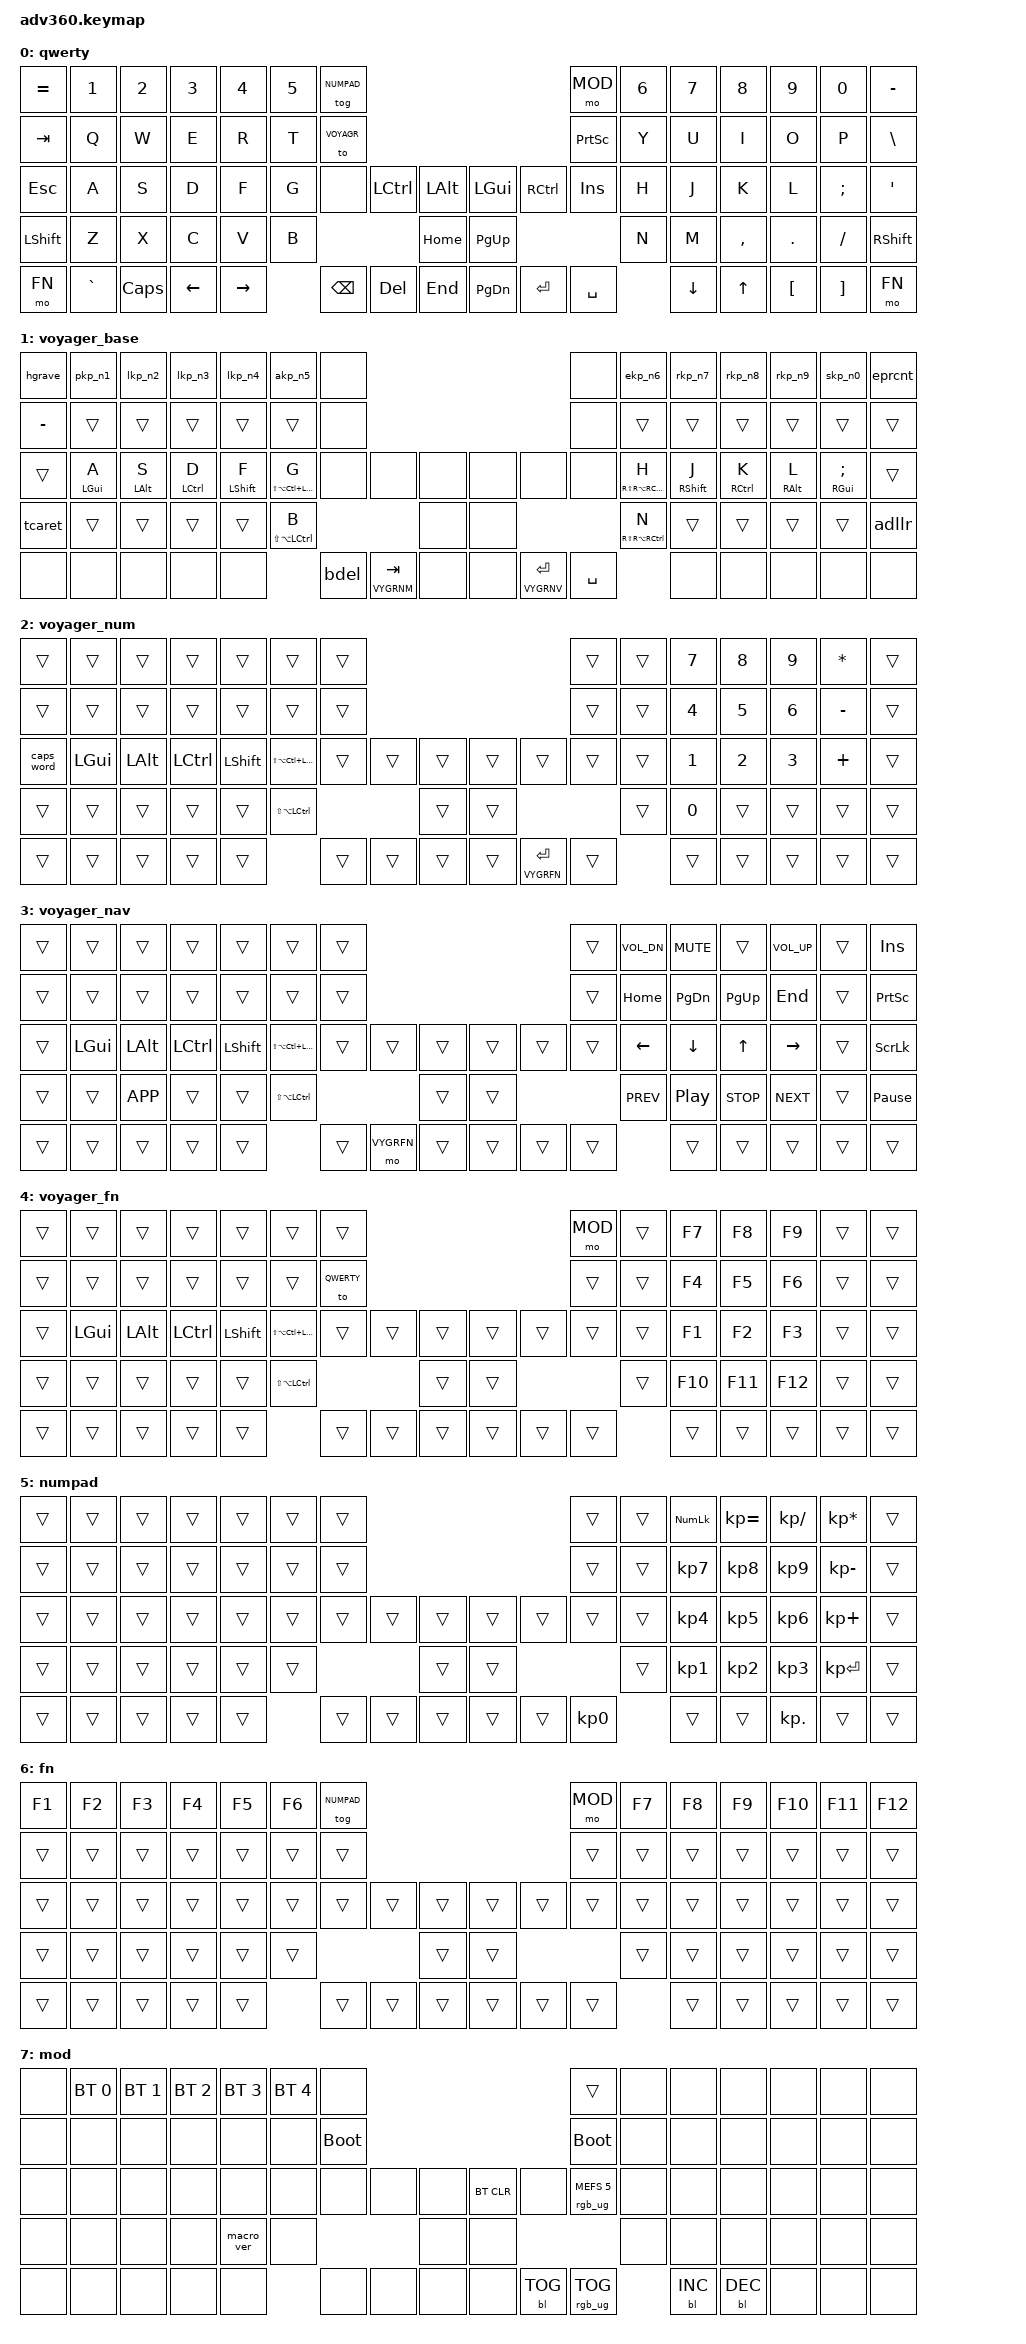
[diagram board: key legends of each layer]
#include <behaviors.dtsi>
#include <dt-bindings/zmk/keys.h>
#include <dt-bindings/zmk/bt.h>
#include <dt-bindings/zmk/rgb.h>
#include <dt-bindings/zmk/backlight.h>


#define ______ &trans
#define xxxxxx &none
#define LHPR LS(LA(LC(LGUI)))
#define RHPR RS(RA(RC(RGUI)))
#define LMEH LS(LA(LCTRL))
#define RMEH RS(RA(RCTRL))

#define QWERTY 0
#define VOYAGR 1
#define VYGRNM 2
#define VYGRNV 3
#define VYGRFN 4
#define NUMPAD 5
#define FN 6
#define MOD 7

&lt {
    quick_tap_ms = <175>;
};

&caps_word {
    continue-list = <UNDERSCORE BACKSPACE DELETE (RS(ZMK_HID_USAGE(HID_USAGE_KEY, HID_USAGE_KEY_KEYBOARD_MINUS_AND_UNDERSCORE))) >;
};


/ {
    behaviors {
        #include "macros.dtsi"
        #include "version.dtsi"
        #ifndef VERSION_MACRO
        macro_ver: macro_ver {
            compatible = "zmk,behavior-macro";
            label = "macro_version";
            #binding-cells = <0>;
            bindings = <&kp RET>;
        };
        #endif

        hm: homerow_mods {
            compatible = "zmk,behavior-hold-tap";
            label = "HOMEROW_MODS";
            #binding-cells = <2>;
            tapping-term-ms = <200>;
            quick_tap_ms = <175>;
            flavor = "tap-preferred";
            bindings = <&kp>, <&kp>;
        };
        hm_l: hm_l {
            compatible = "zmk,behavior-hold-tap";
            label = "HM_L";
            bindings = <&kp>, <&kp>;

            #binding-cells = <2>;
            flavor = "balanced";
            tapping-term-ms = <200>;
            quick-tap-ms = <175>;
            hold-trigger-key-positions = <66 35 36 52 67 65 7 8 9 10 11 12 13 21 22 23 24 25 26 27 38 39 40 41 42 43 44 45 54 55 56 57 58 59 70 71 72 73 74 75 37 53 69 68>;
            hold-trigger-on-release;
            global-quick-tap;
        };
        hm_r: hm_r {
            compatible = "zmk,behavior-hold-tap";
            label = "HM_R";
            bindings = <&kp>, <&kp>;

            #binding-cells = <2>;
            tapping-term-ms = <200>;
            quick-tap-ms = <175>;
            flavor = "balanced";
            hold-trigger-key-positions = <0 1 2 3 4 5 6 14 15 16 17 18 19 20 28 29 30 31 32 33 34 35 36 46 47 48 49 50 51 52 60 61 62 63 64 65 66 67 37 38 53 68 69 70>;
            hold-trigger-on-release;
            global-quick-tap;
        };
        gpipe: grave_pipe {
            compatible = "zmk,behavior-mod-morph";
            label = "grave_pipe";
            #binding-cells = <0>;
            bindings = <&kp GRAVE>, <&kp PIPE>;
            mods = <(MOD_LSFT|MOD_RSFT)>;
        };
        ppipe: pipe_pipe {
            compatible = "zmk,behavior-mod-morph";
            label = "pipe_pipe";
            #binding-cells = <0>;
            bindings = <&kp PIPE>, <&kp PIPE>;
            mods = <(MOD_LSFT|MOD_RSFT)>;
        };
        pkp_n1: plus_kp_n1 {
            compatible = "zmk,behavior-mod-morph";
            label = "plus_kp_n1";
            #binding-cells = <0>;
            bindings = <&kp PLUS>, <&kp N1>;
            mods = <(MOD_LSFT|MOD_RSFT)>;
        };
        lkp_n2: left_bracket_kp_n2 {
            compatible = "zmk,behavior-mod-morph";
            label = "left_bracket_kp_n2";
            #binding-cells = <0>;
            bindings = <&kp LEFT_BRACKET>, <&kp N2>;
            mods = <(MOD_LSFT|MOD_RSFT)>;
        };
        lkp_n3: left_brace_kp_n3 {
            compatible = "zmk,behavior-mod-morph";
            label = "left_brace_kp_n3";
            #binding-cells = <0>;
            bindings = <&kp LEFT_BRACE>, <&kp N3>;
            mods = <(MOD_LSFT|MOD_RSFT)>;
        };
        lkp_n4: left_parenthesis_kp_n4 {
            compatible = "zmk,behavior-mod-morph";
            label = "left_parenthesis_kp_n4";
            #binding-cells = <0>;
            bindings = <&kp LEFT_PARENTHESIS>, <&kp N4>;
            mods = <(MOD_LSFT|MOD_RSFT)>;
        };
        akp_n5: amps_kp_n5 {
            compatible = "zmk,behavior-mod-morph";
            label = "amps_kp_n5";
            #binding-cells = <0>;
            bindings = <&kp AMPS>, <&kp N5>;
            mods = <(MOD_LSFT|MOD_RSFT)>;
        };
        ekp_n6: equal_kp_n6 {
            compatible = "zmk,behavior-mod-morph";
            label = "equal_kp_n6";
            #binding-cells = <0>;
            bindings = <&kp EQUAL>, <&kp N6>;
            mods = <(MOD_LSFT|MOD_RSFT)>;
        };
        skp_n6: star_kp_n6 {
            compatible = "zmk,behavior-mod-morph";
            label = "star_kp_n6";
            #binding-cells = <0>;
            bindings = <&kp STAR>, <&kp N6>;
            mods = <(MOD_LSFT|MOD_RSFT)>;
        };
        rkp_n7: right_parenthesis_kp_n7 {
            compatible = "zmk,behavior-mod-morph";
            label = "right_parenthesis_kp_n7";
            #binding-cells = <0>;
            bindings = <&kp RIGHT_PARENTHESIS>, <&kp N7>;
            mods = <(MOD_LSFT|MOD_RSFT)>;
        };
        rkp_n8: right_brace_kp_n8 {
            compatible = "zmk,behavior-mod-morph";
            label = "right_brace_kp_n8";
            #binding-cells = <0>;
            bindings = <&kp RIGHT_BRACE>, <&kp N8>;
            mods = <(MOD_LSFT|MOD_RSFT)>;
        };
        rkp_n9: right_bracket_kp_n9 {
            compatible = "zmk,behavior-mod-morph";
            label = "right_bracket_kp_n9";
            #binding-cells = <0>;
            bindings = <&kp RIGHT_BRACKET>, <&kp N9>;
            mods = <(MOD_LSFT|MOD_RSFT)>;
        };
        skp_n0: star_kp_n0 {
            compatible = "zmk,behavior-mod-morph";
            label = "star_kp_n0";
            #binding-cells = <0>;
            bindings = <&kp STAR>, <&kp N0>;
            mods = <(MOD_LSFT|MOD_RSFT)>;
        };
        ekp_n0: equal_kp_n0 {
            compatible = "zmk,behavior-mod-morph";
            label = "equal_kp_n0";
            #binding-cells = <0>;
            bindings = <&kp EQUAL>, <&kp N0>;
            mods = <(MOD_LSFT|MOD_RSFT)>;
        };
        eprcnt: excl_prcnt {
            compatible = "zmk,behavior-mod-morph";
            label = "excl_prcnt";
            #binding-cells = <0>;
            bindings = <&kp EXCL>, <&kp PRCNT>;
            mods = <(MOD_LSFT|MOD_RSFT)>;
        };
        dgrave: dllr_grave {
            compatible = "zmk,behavior-mod-morph";
            label = "dllr_grave";
            #binding-cells = <0>;
            bindings = <&kp DLLR>, <&kp GRAVE>;
            mods = <(MOD_LSFT|MOD_RSFT)>;
        };
        dtilde: dllr_tilde {
            compatible = "zmk,behavior-mod-morph";
            label = "dllr_tilde";
            #binding-cells = <0>;
            bindings = <&kp DLLR>, <&kp TILDE>;
            mods = <(MOD_LSFT|MOD_RSFT)>;
        };
        tcaret: tilde_caret {
            compatible = "zmk,behavior-mod-morph";
            label = "tilde_caret";
            #binding-cells = <0>;
            bindings = <&kp TILDE>, <&kp CARET>;
            mods = <(MOD_LSFT|MOD_RSFT)>;
        };
        ggrave: grave_grave {
            compatible = "zmk,behavior-mod-morph";
            label = "grave_grave";
            #binding-cells = <0>;
            bindings = <&kp GRAVE>, <&kp GRAVE>;
            mods = <(MOD_LSFT|MOD_RSFT)>;
        };
        pgrave: pipe_grave {
            compatible = "zmk,behavior-mod-morph";
            label = "pipe_grave";
            #binding-cells = <0>;
            bindings = <&kp PIPE>, <&kp GRAVE>;
            mods = <(MOD_LSFT|MOD_RSFT)>;
        };
        hgrave: hash_grave {
            compatible = "zmk,behavior-mod-morph";
            label = "hash_grave";
            #binding-cells = <0>;
            bindings = <&kp HASH>, <&kp GRAVE>;
            mods = <(MOD_LSFT|MOD_RSFT)>;
        };
        bhash: bslh_hash {
            compatible = "zmk,behavior-mod-morph";
            label = "bslh_hash";
            #binding-cells = <0>;
            bindings = <&kp BSLH>, <&kp HASH>;
            mods = <(MOD_LSFT|MOD_RSFT)>;
        };
        acaret: at_caret {
            compatible = "zmk,behavior-mod-morph";
            label = "at_caret";
            #binding-cells = <0>;
            bindings = <&kp AT>, <&kp CARET>;
            mods = <(MOD_LSFT|MOD_RSFT)>;
        };
        adllr: at_dllr {
            compatible = "zmk,behavior-mod-morph";
            label = "at_dllr";
            #binding-cells = <0>;
            bindings = <&kp AT>, <&kp DLLR>;
            mods = <(MOD_LSFT|MOD_RSFT)>;
        };
        bdel: bspc_del {
            compatible = "zmk,behavior-mod-morph";
            label = "bspc_del";
            #binding-cells = <0>;
            bindings = <&kp BSPC>, <&kp DEL>;
            mods = <(MOD_LSFT|MOD_RSFT)>;
        };
        lt_bspc: layer_tap_bspc_del {
            compatible = "zmk,behavior-hold-tap";
            label = "LAYER_TAP_BACKSPACE_DELETE";
            #binding-cells = <2>;
            bindings = <&mo>, <&bdel>;
            flavor = "balanced";
            tapping-term-ms = <200>;
            quick-tap-ms = <175>;
            global-quick-tap;
        };
    };

    keymap {
        compatible = "zmk,keymap";

        qwerty {
            bindings = <
                &kp EQUAL  &kp N1     &kp N2    &kp N3    &kp N4     &kp N5  &tog NUMPAD                                                 &mo MOD    &kp N6  &kp N7    &kp N8     &kp N9    &kp N0    &kp MINUS
                &kp TAB    &kp Q      &kp W     &kp E     &kp R      &kp T   &to VOYAGR                                                  &kp PSCRN  &kp Y   &kp U     &kp I      &kp O     &kp P     &kp BSLH
                &kp ESC    &kp A      &kp S     &kp D     &kp F      &kp G   xxxxxx       &kp LCTRL  &kp LALT      &kp LGUI   &kp RCTRL  &kp INS    &kp H   &kp J     &kp K      &kp L     &kp SEMI  &kp SQT
                &kp LSHFT  &kp Z      &kp X     &kp C     &kp V      &kp B                           &kp HOME      &kp PG_UP                        &kp N   &kp M     &kp COMMA  &kp DOT   &kp FSLH  &kp RSHFT
                &mo FN     &kp GRAVE  &kp CAPS  &kp LEFT  &kp RIGHT          &kp BSPC     &kp DEL    &kp END       &kp PG_DN  &kp ENTER  &kp SPACE          &kp DOWN  &kp UP     &kp LBKT  &kp RBKT  &mo FN
            >;
        };

        voyager_base {
            bindings = <
                &hgrave    &pkp_n1       &lkp_n2       &lkp_n3        &lkp_n4       &akp_n5        xxxxxx                                                        xxxxxx     &ekp_n6       &rkp_n7        &rkp_n8        &rkp_n9       &skp_n0          &eprcnt
                &kp MINUS  ______        ______        ______         ______         ______        xxxxxx                                                        xxxxxx     ______        ______         ______         ______        ______           ______
                ______     &hm_l LGUI A  &hm_l LALT S  &hm_l LCTRL D  &hm_l LSHFT F  &hm_l LHPR G  xxxxxx  xxxxxx          xxxxxx      xxxxxx  xxxxxx            xxxxxx     &hm_r RHPR H  &hm_r RSHFT J  &hm_r RCTRL K  &hm_r RALT L  &hm_r RGUI SEMI  ______
                &tcaret    ______        ______        ______         ______         &hm_l LMEH B                          xxxxxx      xxxxxx                               &hm_r RMEH N  ______         ______         ______        ______           &adllr
                xxxxxx     xxxxxx        xxxxxx        xxxxxx         xxxxxx                       &bdel   &lt VYGRNM TAB  xxxxxx      xxxxxx  &lt VYGRNV ENTER  &kp SPACE                xxxxxx         xxxxxx         xxxxxx        xxxxxx           xxxxxx
            >;
        };

        voyager_num {
            bindings = <
                ______      ______    ______    ______     ______     ______    ______                                               ______  ______  &kp N7  &kp N8  &kp N9  &kp STAR   ______
                ______      ______    ______    ______     ______     ______    ______                                               ______  ______  &kp N4  &kp N5  &kp N6  &kp MINUS  ______
                &caps_word  &kp LGUI  &kp LALT  &kp LCTRL  &kp LSHFT  &kp LHPR  ______  ______  ______      ______  ______           ______  ______  &kp N1  &kp N2  &kp N3  &kp PLUS   ______
                ______      ______    ______    ______     ______     &kp LMEH                  ______      ______                           ______  &kp N0  ______  ______  ______     ______
                ______      ______    ______    ______     ______               ______  ______  ______      ______  &lt VYGRFN ENTER ______          ______  ______  ______  ______     ______
            >;
        };

        voyager_nav {
            bindings = <
                ______  ______    ______     ______     ______     ______    ______                                          ______  &kp C_VOL_DN  &kp C_MUTE  ______      &kp C_VOL_UP  ______  &kp INS
                ______  ______    ______     ______     ______     ______    ______                                          ______  &kp HOME      &kp PG_DN   &kp PG_UP   &kp END       ______  &kp PSCRN
                ______  &kp LGUI  &kp LALT   &kp LCTRL  &kp LSHFT  &kp LHPR  ______  ______      ______      ______  ______  ______  &kp LEFT      &kp DOWN    &kp UP      &kp RIGHT     ______  &kp SLCK
                ______  ______    &kp K_APP  ______     ______     &kp LMEH                      ______      ______                  &kp C_PREV    &kp C_PP    &kp C_STOP  &kp C_NEXT    ______  &kp PAUSE_BREAK
                ______  ______    ______     ______     ______               ______  &mo VYGRFN  ______      ______  ______  ______                ______      ______      ______        ______  ______
            >;
        };
        
        voyager_fn {
            bindings = <
                ______  ______    ______    ______     ______     ______    ______                                          &mo MOD  ______  &kp F7   &kp F8   &kp F9   ______  ______
                ______  ______    ______    ______     ______     ______    &to QWERTY                                      ______   ______  &kp F4   &kp F5   &kp F6   ______  ______
                ______  &kp LGUI  &kp LALT  &kp LCTRL  &kp LSHFT  &kp LHPR  ______      ______  ______      ______  ______  ______   ______  &kp F1   &kp F2   &kp F3   ______  ______
                ______  ______    ______    ______     ______     &kp LMEH                      ______      ______                   ______  &kp F10  &kp F11  &kp F12  ______  ______
                ______  ______    ______    ______     ______               ______      ______  ______      ______  ______  ______           ______   ______   ______   ______  ______
            >;
        };

        numpad {
            bindings = <
                ______  ______  ______  ______  ______  ______  ______                                      ______     ______  &kp KP_NUM  &kp KP_EQUAL  &kp KP_DIVIDE  &kp KP_MULTIPLY  ______
                ______  ______  ______  ______  ______  ______  ______                                      ______     ______  &kp KP_N7   &kp KP_N8     &kp KP_N9      &kp KP_MINUS     ______
                ______  ______  ______  ______  ______  ______  ______  ______  ______      ______  ______  ______     ______  &kp KP_N4   &kp KP_N5     &kp KP_N6      &kp KP_PLUS      ______
                ______  ______  ______  ______  ______  ______                  ______      ______                     ______  &kp KP_N1   &kp KP_N2     &kp KP_N3      &kp KP_ENTER     ______
                ______  ______  ______  ______  ______          ______  ______  ______      ______  ______  &kp KP_N0          ______      ______        &kp KP_DOT     ______           ______
            >;
        };

        fn {
            bindings = <
                &kp F1  &kp F2  &kp F3  &kp F4  &kp F5  &kp F6  &tog NUMPAD                                      &mo MOD  &kp F7  &kp F8  &kp F9  &kp F10  &kp F11  &kp F12
                ______  ______  ______  ______  ______  ______  ______                                           ______   ______  ______  ______  ______   ______   ______
                ______  ______  ______  ______  ______  ______  ______       ______  ______      ______  ______  ______   ______  ______  ______  ______   ______   ______
                ______  ______  ______  ______  ______  ______                       ______      ______                   ______  ______  ______  ______   ______   ______
                ______  ______  ______  ______  ______          ______       ______  ______      ______  ______  ______           ______  ______  ______   ______   ______
            >;
        };

        mod {
            bindings = <
                xxxxxx  &bt BT_SEL 0  &bt BT_SEL 1  &bt BT_SEL 2  &bt BT_SEL 3  &bt BT_SEL 4  xxxxxx                                                  ______                  xxxxxx  xxxxxx      xxxxxx      xxxxxx  xxxxxx  xxxxxx
                xxxxxx  xxxxxx        xxxxxx        xxxxxx        xxxxxx        xxxxxx        &bootloader                                             &bootloader             xxxxxx  xxxxxx      xxxxxx      xxxxxx  xxxxxx  xxxxxx
                xxxxxx  xxxxxx        xxxxxx        xxxxxx        xxxxxx        xxxxxx        xxxxxx       xxxxxx  xxxxxx     &bt BT_CLR  xxxxxx      &rgb_ug RGB_MEFS_CMD 5  xxxxxx  xxxxxx      xxxxxx      xxxxxx  xxxxxx  xxxxxx
                xxxxxx  xxxxxx        xxxxxx        xxxxxx        &macro_ver    xxxxxx                             xxxxxx     xxxxxx                                          xxxxxx  xxxxxx      xxxxxx      xxxxxx  xxxxxx  xxxxxx
                xxxxxx  xxxxxx        xxxxxx        xxxxxx        xxxxxx                      xxxxxx       xxxxxx  xxxxxx     xxxxxx      &bl BL_TOG  &rgb_ug RGB_TOG                 &bl BL_INC  &bl BL_DEC  xxxxxx  xxxxxx  xxxxxx
            >;
        };
    };
};
